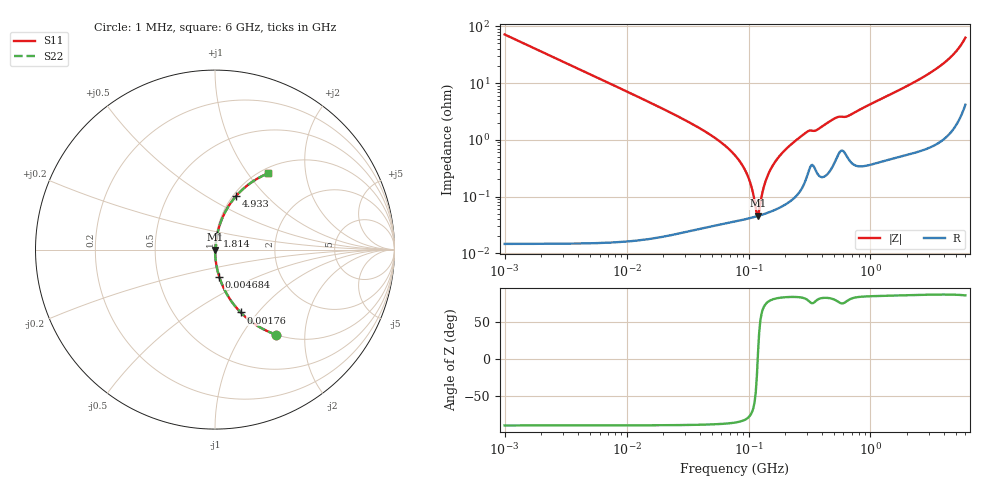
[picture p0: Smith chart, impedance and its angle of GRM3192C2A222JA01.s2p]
!Murata Part Number: GRM3192C2A222JA01
!These Parameters are Measured in Series Mode Connection
!Data Generated on Mar 30, 2021
!  o--ll--o
!Port1  Port2
!  o------o
!Operation Temp=25[degC], DC Bias Voltage=0[V]
!Freq. Start=1000[kHz] Stop=6[GHz] 401[Steps]
# Hz S RI R 50
!Freq.(Hz) S11(Real) S11(Imag) S21(Real) S21(Imag) S12(Real) S12(Imag) S22(Real) S22(Imag)
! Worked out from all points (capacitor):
!   401 points, 1 MHz to 6 GHz, reference 50 ohm
!   read as one part in series: C = 2.21 nF near 1.044 MHz
!   lowest |Z| = 46.2 mohm at 119.7 MHz (marker M1)
!   series resonance near 118.9 MHz, so ESL is about 810 pH
!   S11 on the Smith chart (normalised r, x): 1 MHz: 1.00, -1.44; 1.76 MHz: 1.00, -0.82; 4.684 MHz: 1.00, -0.31; 1.814 GHz: 1.01, +0.16; 4.933 GHz: 1.03, +0.69; 6 GHz: 1.08, +1.26
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1000000  0.3416 -0.4742  0.6584 0.4742  0.6584 0.4742  0.3416 -0.4742
1760272  0.1435 -0.3504  0.8565 0.3504  0.8565 0.3504  0.1435 -0.3504
4293785  0.0274 -0.1629  0.9726 0.1629  0.9726 0.1629  0.0274 -0.1629
4684054  0.0232 -0.1499  0.9768 0.1499  0.9768 0.1499  0.0232 -0.1499
1.843659e7  0.00164 -0.038  0.9984 0.038  0.9984 0.038  0.00164 -0.038
4.697123e7  0.000457 -0.0129  0.9995 0.0129  0.9995 0.0129  0.000457 -0.0129
7.745967e7  0.000391 -0.00532  0.9996 0.00532  0.9996 0.00532  0.000391 -0.00532
8.825674e7  0.000399 -0.00364  0.9996 0.00364  0.9996 0.00364  0.000399 -0.00364
9.83954e7  0.000412 -0.0023  0.9996 0.0023  0.9996 0.0023  0.000412 -0.0023
1.050294e8  0.000424 -0.0015  0.9996 0.0015  0.9996 0.0015  0.000424 -0.0015
1.145757e8  0.000444 -0.000449  0.9996 0.000449  0.9996 0.000449  0.000444 -0.000449
1.196694e8  0.000455 7.47e-05  0.9995 -7.47e-05  0.9995 -7.47e-05  0.000455 7.47e-05
1.223006e8  0.000462 0.000337  0.9995 -0.000337  0.9995 -0.000337  0.000462 0.000337
1.39348e8  0.000509 0.00192  0.9995 -0.00192  0.9995 -0.00192  0.000509 0.00192
1.658303e8  0.000603 0.0041  0.9994 -0.0041  0.9994 -0.0041  0.000603 0.0041
2.348496e8  0.00101 0.00904  0.999 -0.00904  0.999 -0.00904  0.00101 0.00904
3.325952e8  0.00381 0.014  0.9962 -0.014  0.9962 -0.014  0.00381 0.014
1.428092e9  0.00823 0.061  0.9918 -0.061  0.9918 -0.061  0.00823 0.061
1.814076e9  0.0114 0.0786  0.9886 -0.0786  0.9886 -0.0786  0.0114 0.0786
3.335232e9  0.0351 0.1619  0.9649 -0.1619  0.9649 -0.1619  0.0351 0.1619
4.93336e9  0.1178 0.2987  0.8822 -0.2987  0.8822 -0.2987  0.1178 0.2987
6e9  0.2978 0.4255  0.7022 -0.4255  0.7022 -0.4255  0.2978 0.4255
